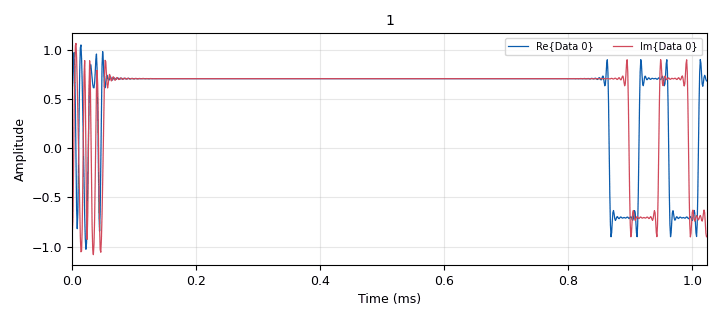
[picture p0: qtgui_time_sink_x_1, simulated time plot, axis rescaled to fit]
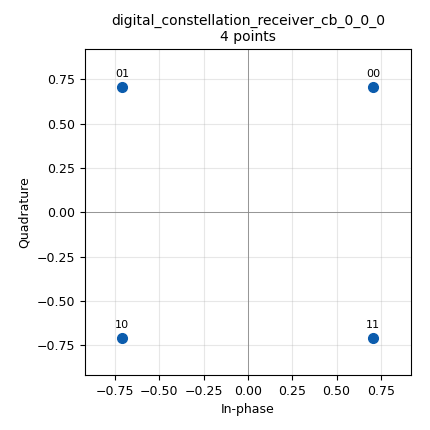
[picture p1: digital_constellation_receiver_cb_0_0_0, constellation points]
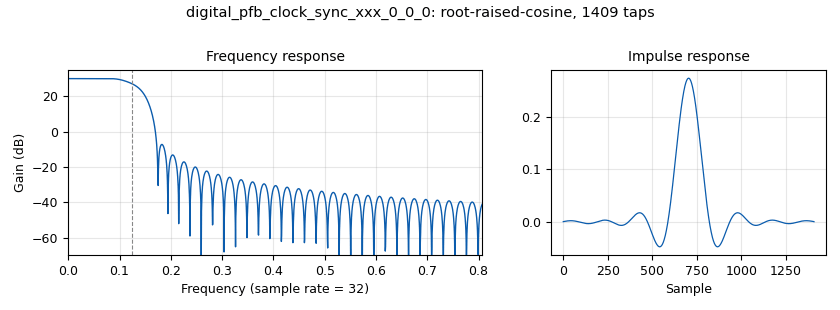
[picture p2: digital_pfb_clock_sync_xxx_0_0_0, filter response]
options:
  parameters:
    author: iar
    generate_options: qt_gui
    id: QPSK_simulation_2Attacker
    output_language: python
    title: QPSK Simulation 2Attacker
  states: {}

blocks:
- name: SHA160
  id: variable
  parameters:
    comment: Binary of SHA1-160 bits(I am a leigitimate device)
    value: '[1,0,1,1,0,1,1,0,1,1,1,1,1,1,0,0,1,0,1,1,0,1,0,1,1,1,1,0,1,0,1,1,0,1,1,0,1,1,1,1,1,1,0,1,0,1,1,1,0,1,0,1,1,1,1,1,1,0,0,1,1,0,0,0,0,0,0,0,0,1,0,1,0,1,1,1,1,1,0,0,0,1,0,1,1,1,0,1,1,0,0,0,1,1,0,0,1,1,1,1,1,1,0,1,1,1,0,0,1,0,0,0,0,1,0,0,0,0,0,0,1,1,0,0,0,0,0,1,0,1,1,1,0,1,0,1,0,0,1,0,0,0,1,1,1,0,1,1,0,0,0,1,1,0,1,1,0,0,0,1]'
  states: {}
- name: SHA256
  id: variable
  parameters:
    comment: Binary of SHA256(I am a leigitimate device)
    value: '[1,0,1,0,1,1,0,1,0,1,0,0,1,0,0,1,1,1,0,0,1,1,0,1,1,1,0,0,0,0,1,0,1,1,0,1,0,1,1,1,1,1,1,1,0,0,0,0,0,1,1,1,1,0,1,0,0,1,1,0,1,1,0,1,1,1,1,1,0,1,0,0,1,0,1,0,1,1,1,0,1,1,0,0,1,1,0,1,0,1,1,0,0,0,1,1,1,0,0,1,0,1,0,1,1,1,1,1,1,1,1,0,0,1,0,1,1,0,0,0,0,0,1,1,0,0,1,0,1,0,1,1,1,1,1,0,0,0,1,1,0,1,1,1,0,0,0,0,1,1,1,0,1,0,0,1,0,0,1,0,0,1,1,1,1,0,0,1,1,0,0,1,0,0,0,0,0,0,1,0,0,1,0,1,1,1,1,0,1,0,1,1,1,0,1,0,0,0,0,1,0,1,0,1,1,0,0,0,0,0,1,0,0,0,0,1,0,0,1,0,0,0,1,1,1,0,0,0,0,1,1,1,1,0,0,0,0,0,1,0,0,0,0,1,1,1,0,0,0,0,1,0,1,0,0,0]'
  states: {}
- name: arity
  id: variable
  parameters:
    value: '4'
  states: {}
- name: centerfreq
  id: variable
  parameters:
    value: 2.4e9
  states: {}
- name: data
  id: variable
  parameters:
    comment: Binary of SHA256(I am a leigitimate device)
    value: '[0]*4+[1,0,1,0]'
  states: {}
- name: delay
  id: variable_qtgui_range
  parameters:
    label: Delay
    start: '0'
    step: '1'
    stop: '200'
    value: '0'
  states: {}
- name: delay_d3
  id: variable_qtgui_range
  parameters:
    label: D3 Delay
    rangeType: int
    start: '-500'
    step: '1'
    stop: '500'
    value: '0'
  states: {}
- name: excess_bw
  id: variable
  parameters:
    value: '0.35'
  states: {}
- name: nfilts
  id: variable
  parameters:
    value: '32'
  states: {}
- name: phase_bw
  id: variable_qtgui_range
  parameters:
    label: 'Phase: Bandwidth'
    start: '0.0'
    step: '0.01'
    stop: '1.0'
    value: 6.28/100.0
    widget: slider
  states: {}
- name: preamble
  id: variable
  parameters:
    value: '[0x70, 0x72, 0x65, 0x61, 0x6D, 0x62, 0x6C, 0x65]+[0]*50'
  states: {}
- name: qpsk
  id: variable_constellation_rect
  parameters:
    const_points: '[0.707+0.707j, -0.707+0.707j, -0.707-0.707j, 0.707-0.707j]'
    imag_sect: '2'
    real_sect: '2'
    rot_sym: '4'
    sym_map: '[0, 1, 2, 3]'
    w_imag_sect: '1'
    w_real_sect: '1'
  states: {}
- name: rrc_taps
  id: variable
  parameters:
    value: firdes.root_raised_cosine(nfilts, nfilts, 1.0/float(sps), 0.35, 11*sps*nfilts)
  states: {}
- name: samp_rate
  id: variable
  parameters:
    value: 1e6
  states: {}
- name: sps
  id: variable
  parameters:
    value: '4'
  states: {}
- name: timing_loop_bw
  id: variable_qtgui_range
  parameters:
    label: 'Time: BW'
    start: '0.0'
    step: '0.01'
    stop: '0.2'
    value: 6.28/100.0
    widget: slider
  states: {}
- name: variable_adaptive_algorithm
  id: variable_adaptive_algorithm
  parameters:
    cons: qpsk
    modulus: '4'
    step_size: '.0001'
    type: cma
  states: {}
- name: blocks_char_to_float_0_0_0
  id: blocks_char_to_float
  parameters:
    scale: '1'
  states: {}
- name: blocks_char_to_float_0_0_1_0
  id: blocks_char_to_float
  parameters:
    scale: '1'
  states: {}
- name: blocks_delay_0
  id: blocks_delay
  parameters:
    delay: int(delay)
    type: float
  states: {}
- name: blocks_delay_0_0_0
  id: blocks_delay
  parameters:
    delay: delay_d3
    type: complex
  states: {}
- name: blocks_file_sink_1_0
  id: blocks_file_sink
  parameters:
    file: C:\Users\AISECLAB\Desktop\AISECLAB_mmWave\qpsk_2\receiver_3.data
    type: complex
  states: {state: disabled}
- name: blocks_multiply_const_vxx_0_0
  id: blocks_multiply_const_vxx
  parameters:
    const: '1'
    type: complex
  states: {}
- name: blocks_unpack_k_bits_bb_0_0
  id: blocks_unpack_k_bits_bb
  parameters:
    k: '8'
  states: {}
- name: blocks_unpack_k_bits_bb_0_1_0
  id: blocks_unpack_k_bits_bb
  parameters:
    k: '2'
  states: {}
- name: blocks_vector_source_x_0_0
  id: blocks_vector_source_x
  parameters:
    comment: 'TX: transmitting bit'
    repeat: 'True'
    type: byte
    vector: preamble+SHA160
  states: {}
- name: digital_constellation_modulator_0
  id: digital_constellation_modulator
  parameters:
    constellation: qpsk
    differential: 'True'
    excess_bw: excess_bw
    samples_per_symbol: sps
  states: {}
- name: digital_constellation_receiver_cb_0_0_0
  id: digital_constellation_receiver_cb
  parameters:
    constellation: qpsk
    fmax: '0'
    fmin: '0'
    loop_bw: excess_bw
  states: {}
- name: digital_costas_loop_cc_0_0_0
  id: digital_costas_loop_cc
  parameters:
    order: arity
    w: phase_bw
  states: {}
- name: digital_diff_decoder_bb_0_0_0
  id: digital_diff_decoder_bb
  parameters:
    coding: digital.DIFF_DIFFERENTIAL
    modulus: '4'
  states: {}
- name: digital_linear_equalizer_0_0_0
  id: digital_linear_equalizer
  parameters:
    alg: variable_adaptive_algorithm
    num_taps: '15'
    sps: '2'
    training_sequence: preamble
  states: {}
- name: digital_map_bb_0_0_0
  id: digital_map_bb
  parameters:
    map: '[0,1,2,3]'
  states: {}
- name: digital_pfb_clock_sync_xxx_0_0_0
  id: digital_pfb_clock_sync_xxx
  parameters:
    filter_size: nfilts
    init_phase: nfilts/2
    loop_bw: timing_loop_bw
    max_dev: '1.5'
    osps: '2'
    sps: sps
    taps: rrc_taps
    type: ccf
  states: {}
- name: import_0
  id: import
  parameters:
    imports: import math
  states: {}
- name: note_0
  id: note
  parameters:
    comment: |-
      The CMA equalizer has been
      replaced by a Linear Equalizer
      and an Adaptive Algorithm for
      version 3.9
    note: CMA equalizer replaced
  states: {}
- name: qtgui_const_sink_x_0_1_0
  id: qtgui_const_sink_x
  parameters:
    name: '"D3 constellation after processing"'
    size: '1024'
    type: complex
  states: {}
- name: qtgui_freq_sink_x_0
  id: qtgui_freq_sink_x
  parameters:
    bw: samp_rate
    ctrlpanel: 'True'
    fc: '0'
    fftsize: '1024'
    name: '"2"'
    type: complex
  states: {}
- name: qtgui_time_sink_x_0
  id: qtgui_time_sink_x
  parameters:
    ctrlpanel: 'True'
    name: '"2"'
    size: '1024'
    srate: samp_rate
    type: complex
  states: {}
- name: qtgui_time_sink_x_0_0
  id: qtgui_time_sink_x
  parameters:
    ctrlpanel: 'True'
    gui_hint: 2,1,1,1
    label1: Tx Bits
    label2: D3
    marker1: '0'
    marker2: '0'
    name: bit
    nconnections: '2'
    size: '128'
    srate: samp_rate
    stemplot: 'True'
    tr_mode: qtgui.TRIG_MODE_AUTO
    type: float
    ymax: '2'
  states: {}
- name: qtgui_time_sink_x_1
  id: qtgui_time_sink_x
  parameters:
    ctrlpanel: 'True'
    name: '"1"'
    size: '1024'
    srate: samp_rate
    type: complex
  states: {}
- name: qtgui_time_sink_x_2
  id: qtgui_time_sink_x
  parameters:
    ctrlpanel: 'True'
    name: '"3"'
    size: '1024'
    srate: samp_rate
    type: complex
  states: {}
- name: uhd_usrp_sink_0_0
  id: uhd_usrp_sink
  parameters:
    ant0: '"TX/RX"'
    bw0: 22e6
    center_freq0: centerfreq
    comment: 'Attacker2: D2'
    dev_addr: '"addr = 192.168.10.7"'
    gain0: '0.1'
    gain_type0: normalized
    samp_rate: samp_rate
    sync: pc_clock
    type: fc32
  states: {}
- name: uhd_usrp_source_0_0_0
  id: uhd_usrp_source
  parameters:
    ant0: '"TX/RX"'
    bw0: 22e6
    center_freq0: centerfreq
    dev_addr: '"addr = 192.168.10.3"'
    gain0: '0.8'
    gain_type0: normalized
    samp_rate: samp_rate
    sync: pc_clock
    type: fc32
  states: {}

connections:
- [blocks_char_to_float_0_0_0, '0', blocks_delay_0, '0']
- [blocks_char_to_float_0_0_1_0, '0', qtgui_time_sink_x_0_0, '1']
- [blocks_delay_0, '0', qtgui_time_sink_x_0_0, '0']
- [blocks_delay_0_0_0, '0', blocks_file_sink_1_0, '0']
- [blocks_delay_0_0_0, '0', digital_constellation_receiver_cb_0_0_0, '0']
- [blocks_delay_0_0_0, '0', qtgui_const_sink_x_0_1_0, '0']
- [blocks_delay_0_0_0, '0', qtgui_time_sink_x_2, '0']
- [blocks_multiply_const_vxx_0_0, '0', blocks_delay_0_0_0, '0']
- [blocks_unpack_k_bits_bb_0_0, '0', blocks_char_to_float_0_0_0, '0']
- [blocks_unpack_k_bits_bb_0_1_0, '0', blocks_char_to_float_0_0_1_0, '0']
- [blocks_vector_source_x_0_0, '0', blocks_unpack_k_bits_bb_0_0, '0']
- [blocks_vector_source_x_0_0, '0', digital_constellation_modulator_0, '0']
- [digital_constellation_modulator_0, '0', qtgui_time_sink_x_1, '0']
- [digital_constellation_modulator_0, '0', uhd_usrp_sink_0_0, '0']
- [digital_constellation_receiver_cb_0_0_0, '0', digital_diff_decoder_bb_0_0_0, '0']
- [digital_costas_loop_cc_0_0_0, '0', blocks_multiply_const_vxx_0_0, '0']
- [digital_diff_decoder_bb_0_0_0, '0', digital_map_bb_0_0_0, '0']
- [digital_linear_equalizer_0_0_0, '0', digital_costas_loop_cc_0_0_0, '0']
- [digital_map_bb_0_0_0, '0', blocks_unpack_k_bits_bb_0_1_0, '0']
- [digital_pfb_clock_sync_xxx_0_0_0, '0', digital_linear_equalizer_0_0_0, '0']
- [uhd_usrp_source_0_0_0, '0', digital_pfb_clock_sync_xxx_0_0_0, '0']
- [uhd_usrp_source_0_0_0, '0', qtgui_freq_sink_x_0, '0']
- [uhd_usrp_source_0_0_0, '0', qtgui_time_sink_x_0, '0']

metadata:
  file_format: 1
  grc_version: 3.10.5.1
